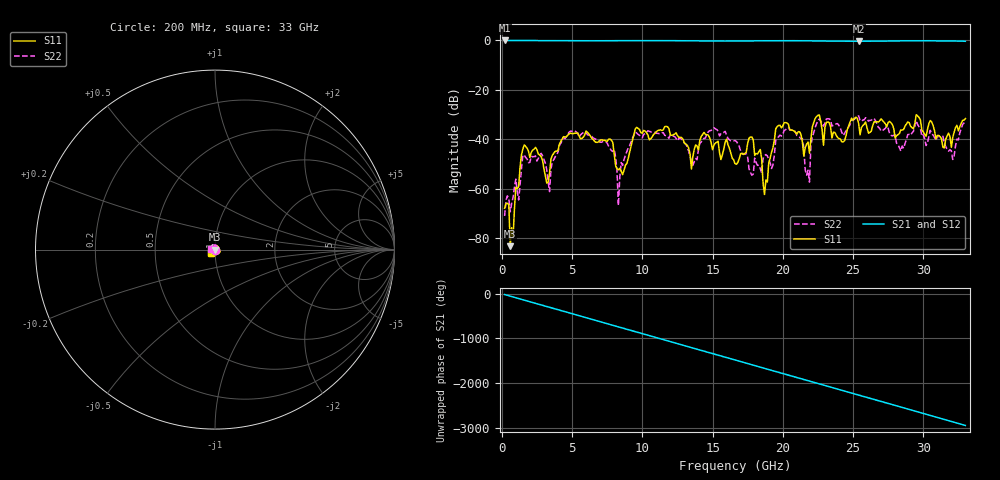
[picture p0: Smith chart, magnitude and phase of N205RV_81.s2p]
# GHZ S RI R 50
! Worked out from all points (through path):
!   329 points, 200 MHz to 33 GHz, reference 50 ohm
!   highest |S21| = -0.01 dB at 200 MHz (marker M1); lowest = -0.4 dB at 25.4 GHz (marker M2)
!   group delay of S21, straight-line fit = 248 ps
!   lowest |S11| = -83.3 dB at 600 MHz (marker M3), VSWR 1.00, Z = 50 + j0.00458 ohm
!   |S11| at or under -10 dB: start of sweep to end of sweep
!   |S22| runs from -71.1 to -30.5 dB; largest |S21 - S12| = 0.0019
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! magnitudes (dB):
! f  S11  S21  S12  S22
! 200 MHz  -68.0  0.0  0.0  -71.1
! 600 MHz  -83.3  0.0  0.0  -69.4
! 1.6 GHz  -42.3  0.0  0.0  -46.4
! 3.4 GHz  -53.7  -0.1  -0.1  -61.2
! 5.7 GHz  -39.7  -0.1  -0.1  -37.7
! 8 GHz  -46.1  -0.1  -0.1  -44.2
! 8.3 GHz  -52.4  -0.1  -0.1  -66.9
! 8.5 GHz  -52.9  -0.1  -0.1  -49.5
! 9.5 GHz  -35.9  -0.1  -0.1  -37.0
! 11.2 GHz  -36.3  -0.1  -0.1  -37.8
! 13.6 GHz  -47.1  -0.2  -0.2  -50.6
! 16.6 GHz  -49.9  -0.2  -0.2  -40.5
! 17.8 GHz  -39.1  -0.2  -0.2  -54.6
! 18.7 GHz  -62.4  -0.1  -0.2  -46.6
! 19.6 GHz  -34.9  -0.1  -0.1  -39.7
! 21.4 GHz  -41.2  -0.2  -0.2  -39.8
! 21.9 GHz  -45.7  -0.2  -0.2  -57.4
! 22.1 GHz  -35.1  -0.2  -0.2  -39.2
! 25.4 GHz  -33.6  -0.4  -0.4  -30.5
! 27.6 GHz  -32.8  -0.2  -0.2  -37.6
! 32.1 GHz  -39.3  -0.2  -0.2  -48.2
! 33 GHz  -31.7  -0.3  -0.3  -33.1
